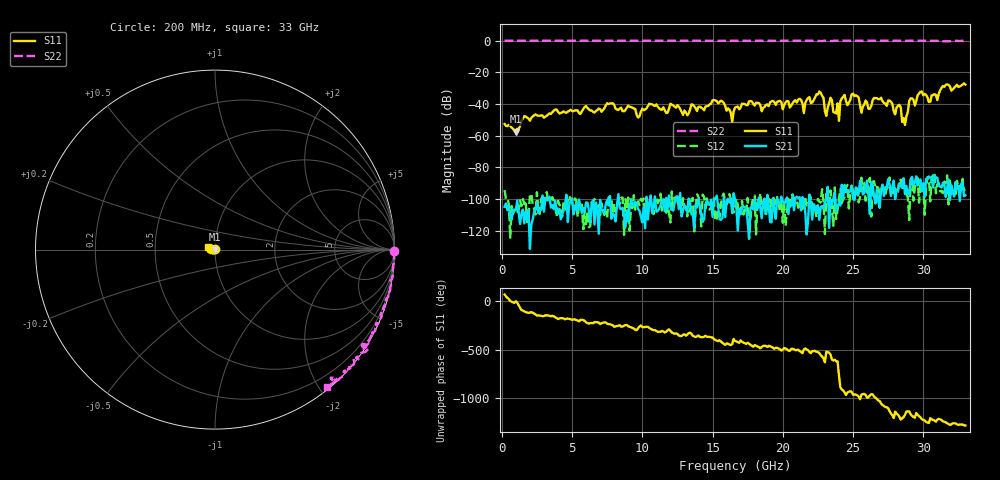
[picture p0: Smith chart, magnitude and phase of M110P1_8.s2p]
# GHZ S RI R 50
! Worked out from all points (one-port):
!   329 points, 200 MHz to 33 GHz, reference 50 ohm
!   lowest |S11| = -57.5 dB at 1 GHz (marker M1), VSWR 1.00, Z = 50.1 + j0.00489 ohm
!   |S11| at or under -10 dB: start of sweep to end of sweep
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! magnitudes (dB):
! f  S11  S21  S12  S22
! 200 MHz  -52.6  -105.0  -94.4  0.0
! 1 GHz  -57.5  -107.1  -109.2  0.0
! 1.6 GHz  -47.7  -115.4  -103.3  0.0
! 5.7 GHz  -44.6  -108.8  -103.6  0.0
! 11.2 GHz  -42.7  -106.3  -101.1  0.0
! 15.6 GHz  -37.8  -113.2  -103.4  -0.1
! 16.4 GHz  -51.3  -108.9  -104.3  0.0
! 16.6 GHz  -42.2  -100.2  -105.0  0.0
! 22.1 GHz  -39.0  -113.0  -105.8  0.0
! 22.7 GHz  -32.9  -105.1  -102.2  -0.2
! 23.1 GHz  -47.4  -100.8  -96.6  0.0
! 23.4 GHz  -36.0  -100.5  -94.6  -0.2
! 23.9 GHz  -39.6  -104.7  -106.9  0.0
! 24 GHz  -50.6  -102.6  -99.9  0.2
! 24.1 GHz  -38.3  -104.2  -93.9  0.1
! 24.4 GHz  -34.2  -91.1  -98.7  0.0
! 25.6 GHz  -45.5  -91.3  -86.6  0.0
! 27.6 GHz  -37.8  -90.6  -86.5  0.0
! 28.7 GHz  -53.3  -96.9  -95.5  -0.1
! 29 GHz  -38.3  -97.3  -113.3  0.0
! 29.8 GHz  -32.3  -87.7  -90.0  0.0
! 33 GHz  -27.7  -97.7  -94.3  -0.1
